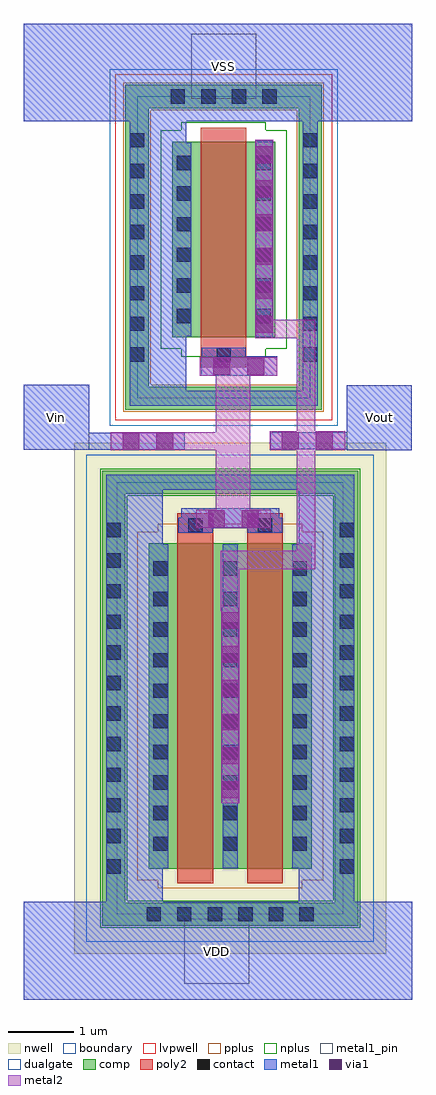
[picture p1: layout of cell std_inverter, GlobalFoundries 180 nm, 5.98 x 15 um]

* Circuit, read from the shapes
.subckt std_inverter VDD VSS Vin Vout
XM1 Vout Vin VSS VSS nfet_06v0 w=3u l=0.7u
XM2 Vout Vin VDD VDD pfet_06v0 w=5u l=0.55u m=2
.ends

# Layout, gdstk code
import gdstk
lib = gdstk.Library(unit=1e-6, precision=1e-09)
def R(c, l, rs):  # rectangles x0, y0, x1, y1
    for r in rs: c.add(gdstk.rectangle(r[:2], r[2:], *l))
def A(c, l, x, y, w, h, nx, ny, dx, dy):  # array of equal rectangles
    R(c, l, [(x+i*dx, y+j*dy, x+i*dx+w, y+j*dy+h) for i in range(nx) for j in range(ny)])
boundary = (0, 0)
nwell = (21, 0)
comp = (22, 0)
poly2 = (30, 0)
pplus = (31, 0)
nplus = (32, 0)
contact = (33, 0)
metal1 = (34, 0)
metal1_pin = (34, 10)
via1 = (35, 0)
metal2 = (36, 0)
dualgate = (55, 0)
lvpwell = (204, 0)

nmos_6p0_bumbju = lib.new_cell('nmos_6p0_BUMBJU')
R(nmos_6p0_bumbju, boundary, [(-1.33,-2.32,1.33,2.32)])
R(nmos_6p0_bumbju, comp, [(-1.51,-2.5,1.51,-2.14), (-1.51,-2.14,-1.15,2.14), (1.15,-2.14,1.51,2.14), (-0.79,-1.38,0.79,1.62), (-1.51,2.14,1.51,2.5)])
R(nmos_6p0_bumbju, poly2, [(-0.35,-1.84,0.35,1.84)])
R(nmos_6p0_bumbju, pplus, [(-1.54,-2.53,1.54,-2.11), (-1.54,-2.11,-1.12,2.11), (1.12,-2.11,1.54,2.11), (-1.54,2.11,1.54,2.53)])
R(nmos_6p0_bumbju, nplus, [(-0.65,-1.68,0.65,-1.56), (-0.97,-1.56,0.97,1.8), (-0.65,1.8,0.65,1.92)])
A(nmos_6p0_bumbju, contact, -1.44, -1.755, 0.22, 0.22, 1, 8, 0, 0.47)
A(nmos_6p0_bumbju, contact, 1.22, -1.755, 0.22, 0.22, 1, 8, 0, 0.47)
A(nmos_6p0_bumbju, contact, -0.72, -1.165, 0.22, 0.22, 1, 6, 0, 0.47)
A(nmos_6p0_bumbju, contact, 0.5, -1.165, 0.22, 0.22, 1, 6, 0, 0.47)
A(nmos_6p0_bumbju, contact, -0.815, 2.21, 0.22, 0.22, 4, 1, 0.47, 0)
R(nmos_6p0_bumbju, contact, [(-0.11,-1.77,0.11,-1.55)])
R(nmos_6p0_bumbju, metal1, [(-1.445,-2.435,1.445,-2.205), (-1.445,-2.205,-1.215,2.205), (1.215,-2.205,1.445,2.205), (-0.34,-1.775,0.34,-1.545), (-0.725,-1.37,-0.495,1.61), (0.495,-1.37,0.725,1.61), (-1.445,2.205,1.445,2.435)])
R(nmos_6p0_bumbju, dualgate, [(-1.75,-2.74,1.75,2.74)])
R(nmos_6p0_bumbju, lvpwell, [(-1.67,-2.66,1.67,2.66)])

pmos_6p0_muw2nr = lib.new_cell('pmos_6p0_MUW2NR')
R(pmos_6p0_muw2nr, boundary, [(-1.74,-3.32,1.74,3.32)])
R(pmos_6p0_muw2nr, nwell, [(-2.4,-3.93,2.4,3.93)])
R(pmos_6p0_muw2nr, comp, [(-1.97,-3.5,1.97,-3.14), (-1.97,-3.14,-1.61,3.14), (1.61,-3.14,1.97,3.14), (-1.25,-2.62,1.25,2.38), (-1.97,3.14,1.97,3.5)])
R(pmos_6p0_muw2nr, poly2, [(-0.81,-2.84,-0.26,2.84), (0.26,-2.84,0.81,2.84)])
R(pmos_6p0_muw2nr, pplus, [(-1.11,-2.92,1.11,-2.8), (-1.43,-2.8,1.43,2.56), (-1.11,2.56,1.11,2.68)])
R(pmos_6p0_muw2nr, nplus, [(-2,-3.53,2,-3.11), (-2,-3.11,-1.58,3.11), (1.58,-3.11,2,3.11), (-2,3.11,2,3.53)])
A(pmos_6p0_muw2nr, contact, -1.285, -3.43, 0.22, 0.22, 6, 1, 0.47, 0)
A(pmos_6p0_muw2nr, contact, -1.9, -2.695, 0.22, 0.22, 1, 12, 0, 0.47)
A(pmos_6p0_muw2nr, contact, 1.68, -2.695, 0.22, 0.22, 1, 12, 0, 0.47)
A(pmos_6p0_muw2nr, contact, -1.18, -2.345, 0.22, 0.22, 3, 10, 1.07, 0.47)
R(pmos_6p0_muw2nr, contact, [(-0.645,2.55,-0.425,2.77), (0.425,2.55,0.645,2.77)])
A(pmos_6p0_muw2nr, metal1, -1.185, -2.61, 0.23, 4.98, 3, 1, 1.07, 0)
R(pmos_6p0_muw2nr, metal1, [(-1.905,-3.435,1.905,-3.205), (-1.905,-3.205,-1.675,3.205), (1.675,-3.205,1.905,3.205), (-0.8,2.545,-0.27,2.775), (0.27,2.545,0.8,2.775), (-1.905,3.205,1.905,3.435)])
R(pmos_6p0_muw2nr, dualgate, [(-2.21,-3.74,2.21,3.74)])

std_inverter = lib.new_cell('std_inverter')
R(std_inverter, metal1, [(1.325,-6.75,7.3,-5.25), (2.645,-5.25,3.46,1.265), (5.55,-5.25,6.365,1.285), (4.37,-3.725,4.63,-0.73), (3.75,0.495,5.255,0.8), (6.29,1.69,7.29,1.705), (1.33,1.7,3.805,1.96), (5.115,1.705,7.29,1.965), (1.33,1.96,2.33,2.7), (6.29,1.965,7.29,2.69), (3.01,2.48,3.825,6.75), (4.055,2.835,5.225,3.135), (4.895,3.435,5.155,6.45), (1.325,6.75,7.3,8.25)])
R(std_inverter, metal1_pin, [(3.79,-6.51,4.79,-5.51), (6.29,1.69,7.29,2.69), (1.33,1.7,2.33,2.7), (3.9,7.095,4.9,8.095)])
A(std_inverter, via1, 4.37, -3.655, 0.26, 0.26, 1, 6, 0, 0.52)
A(std_inverter, via1, 4.895, 3.5, 0.26, 0.26, 1, 6, 0, 0.52)
R(std_inverter, via1, [(4.16,0.51,4.42,0.77), (4.68,0.51,4.94,0.77), (2.845,1.7,3.105,1.96), (3.365,1.7,3.625,1.96), (5.295,1.705,5.555,1.965), (5.815,1.705,6.075,1.965), (4.24,2.85,4.5,3.11), (4.76,2.85,5.02,3.11)])
R(std_inverter, metal2, [(4.36,-3.735,4.64,-0.78), (4.355,-0.78,4.64,-0.14), (4.355,-0.14,5.81,0.145), (5.525,0.145,5.81,1.69), (3.98,0.5,5.12,0.78), (4.28,0.78,4.81,1.69), (2.665,1.69,4.81,1.97), (5.105,1.69,6.27,1.98), (4.28,1.97,4.81,2.84), (5.525,1.98,5.81,3.415), (4.035,2.84,5.225,3.12), (4.885,3.415,5.81,3.7), (4.885,3.7,5.165,6.46)])
std_inverter.add(gdstk.Reference(nmos_6p0_bumbju, (4.4,4.81)))
std_inverter.add(gdstk.Reference(pmos_6p0_muw2nr, (4.5,-2.12)))
std_inverter.add(gdstk.Label('VDD', (4.29,-6.01), layer=34, texttype=10))
std_inverter.add(gdstk.Label('VSS', (4.4,7.595), layer=34, texttype=10))
std_inverter.add(gdstk.Label('Vin', (1.83,2.2), layer=34, texttype=10))
std_inverter.add(gdstk.Label('Vout', (6.79,2.19), layer=34, texttype=10))

lib.write_gds('std_inverter.gds')
